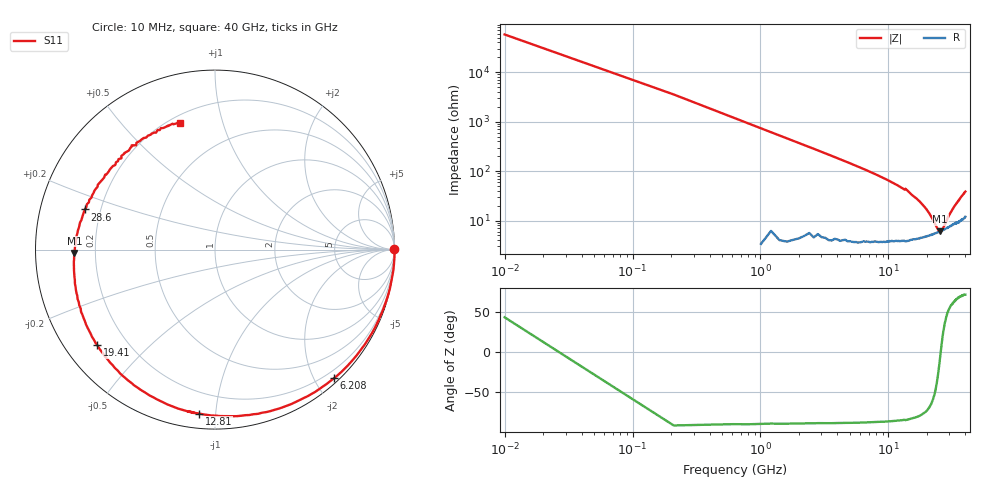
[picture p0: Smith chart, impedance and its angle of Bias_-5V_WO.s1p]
!Agilent Technologies,N5227A,US51270434,A.10.00.00
!Agilent N5227A: A.10.00.00
!Date: Monday, March 30, 2026 11:21:59
!Correction: S11(Full 1 Port(1))
!S1P File: Measurement: S11:
# Hz S  dB  R 50
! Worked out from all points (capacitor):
!   201 points, 10 MHz to 40 GHz, reference 50 ohm
!   read as one part to ground: C = 214 fF near 209.9 MHz
!   lowest |Z| = 6.11 ohm at 25.4 GHz (marker M1)
!   series resonance near 25.65 GHz, so ESL is about 180 pH
!   S11 on the Smith chart (normalised r, x): 10 MHz: open; 6.208 GHz: 0.07, -2.28; 12.81 GHz: 0.08, -0.91; 19.41 GHz: 0.09, -0.35; 28.6 GHz: 0.14, +0.15; 40 GHz: 0.24, +0.73
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1e7  -0.01 0.1
1.40965e9  -0.01 -10.9
2.60935e9  -0.05 -20.0
3.6091e9  -0.08 -27.7
5.00875e9  -0.14 -38.2
6.20845e9  -0.21 -47.2
8.60785e9  -0.38 -65.5
1.00075e10  -0.48 -75.4
1.12072e10  -0.60 -84.0
1.28068e10  -0.75 -95.5
1.340665e10  -0.79 -99.7
1.36066e10  -0.74 -97.2
1.500625e10  -0.96 -111.1
1.700575e10  -1.18 -124.9
1.940515e10  -1.47 -140.8
2.0005e10  -1.51 -144.7
2.24044e10  -1.79 -160.2
2.500375e10  -2.08 -176.1
2.540365e10  -2.12 -178.6
2.860285e10  -2.40 162.8
3.00025e10  -2.54 155.0
3.12022e10  -2.59 149.5
3.180205e10  -2.61 145.6
3.500125e10  -2.65 129.7
3.540115e10  -2.57 128.7
3.56011e10  -2.75 127.1
3.780055e10  -2.62 115.6
4e10  -2.69 105.3
